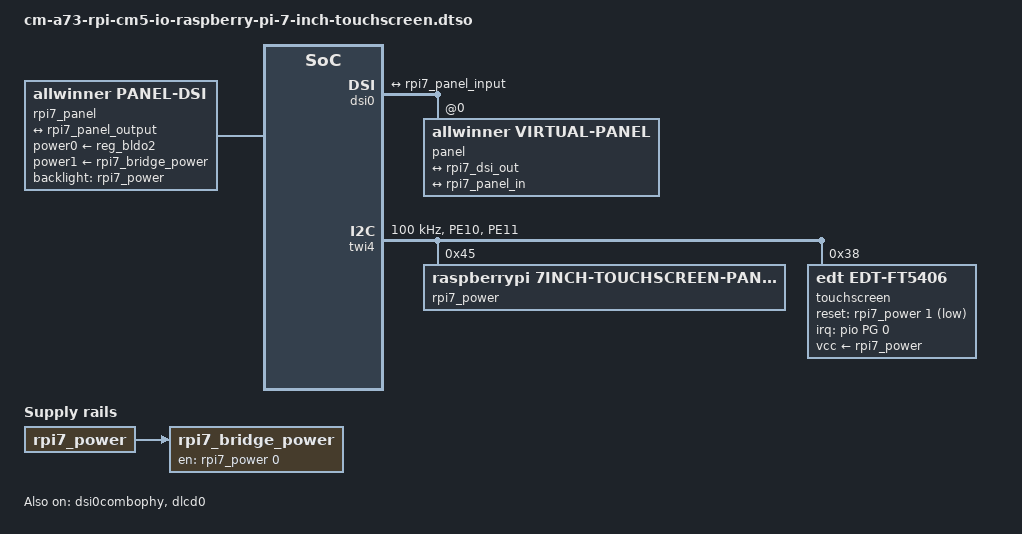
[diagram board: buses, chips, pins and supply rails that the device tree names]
/dts-v1/;
/plugin/;

#include <dt-bindings/gpio/gpio.h>
#include <dt-bindings/gpio/sun4i-gpio.h>
#include <dt-bindings/display/sunxi-lcd.h>
#include <dt-bindings/interrupt-controller/irq.h>

/*
 * These flags are missing from the sunxi-lcd.h DT bindings.
 * Match drm_mipi_dsi.h, whose C declarations cannot be included in DTS.
 */
#define MIPI_DSI_MODE_VIDEO_SYNC_PULSE (1 << 2)
#define MIPI_DSI_MODE_VIDEO_HSE (1 << 4)
#define MIPI_DSI_MODE_LPM (1 << 11)

/ {
	metadata {
		title = "Enable Raspberry Pi 7-inch Display";
		compatible = "radxa,cm-a73-rpi-cm5-io";
		category = "display";
		exclusive = "dlcd0", "dsi0", "dsi0combophy", "twi4", "PG0",
			    "PD0", "PD1", "PD2", "PD3", "PD4", "PD5", "PD6", "PD7", "PD8", "PD9",
			    "PE10", "PE11";
		description = "Enable Raspberry Pi 7-inch Display.
Connect J16 (CAM/DISP1, A733 DSI0) using a 22-to-15-pin display cable.
Fit J6 jumpers 1-2 and 3-4 for TWI4 and supply the display with 5V/GND
Connect touch INT to J8 physical pin 7 (PG0); use 3.3V GPIO_VREF.";
	};
};

&{/} {
	/* Power the ATTINY-controlled supply before releasing the bridge reset. */
	rpi7_bridge_power: regulator-rpi7-bridge {
		compatible = "regulator-fixed";
		regulator-name = "rpi7-bridge";
		vin-supply = <&rpi7_power>;
		gpio = <&rpi7_power 0 GPIO_ACTIVE_HIGH>;
		enable-active-high;
	};

	rpi7_panel: panel-rpi7 {
		compatible = "allwinner,panel-dsi";
		status = "okay";
		/* Keep the SoM display rail on independently of the PE-bank I2C bus. */
		power-num = <2>;
		power0-supply = <&reg_bldo2>;
		power1-supply = <&rpi7_bridge_power>;
		power-delay-ms = <100>;
		gpio-num = <0>;
		backlight = <&rpi7_power>;
		width-mm = <154>;
		height-mm = <86>;
		dsi,flags = <(MIPI_DSI_MODE_VIDEO | MIPI_DSI_MODE_VIDEO_SYNC_PULSE |
			      MIPI_DSI_MODE_VIDEO_HSE | MIPI_DSI_MODE_LPM)>;
		dsi,lanes = <1>;
		dsi,format = <0>;

		/* TC358762 generic writes: little-endian 16-bit address, 32-bit value. */
		panel-init-sequence = [
			29 00 06 10 02 03 00 00 00 /* DSI_LANEENABLE: clock and lane 0 */
			29 00 06 64 01 05 00 00 00 /* PPI_D0S_CLRSIPOCOUNT */
			29 00 06 68 01 05 00 00 00 /* PPI_D1S_CLRSIPOCOUNT */
			29 00 06 44 01 00 00 00 00 /* PPI_D0S_ATMR */
			29 00 06 48 01 00 00 00 00 /* PPI_D1S_ATMR */
			29 00 06 14 01 03 00 00 00 /* PPI_LPTXTIMECNT */
			29 00 06 50 04 00 00 00 00 /* SPICMR */
			29 00 06 20 04 50 01 1A 00 /* LCDCTRL: match the working TC358762 driver */
			29 64 06 64 04 0F 04 00 00 /* SYSCTRL */
			29 00 06 04 01 01 00 00 00 /* PPI_STARTPPI */
			29 64 06 04 02 01 00 00 00 /* DSI_STARTDSI */
		];

		display-timings {
			native-mode = <&rpi7_timing>;

			rpi7_timing: timing0 {
				clock-frequency = <30000000>;
				hactive = <800>;
				vactive = <480>;
				/* Keep 978 x 511 total; non-Burst HSA needs 10 packet overhead bytes. */
				hsync-len = <4>;
				hback-porch = <43>;
				hfront-porch = <131>;
				vsync-len = <2>;
				vback-porch = <22>;
				vfront-porch = <7>;
				hsync-active = <0>;
				vsync-active = <0>;
				de-active = <0>;
				pixelclk-active = <0>;
			};
		};

		port {
			rpi7_panel_in: endpoint {
				remote-endpoint = <&rpi7_panel_output>;
			};
		};
	};
};

&dsi0combophy {
	status = "okay";
};

&dlcd0 {
	status = "okay";
};

&dsi0 {
	status = "okay";
	#address-cells = <1>;
	#size-cells = <0>;
	pinctrl-0 = <&dsi0_4lane_pins_a>;
	pinctrl-1 = <&dsi0_4lane_pins_b>;
	pinctrl-names = "active", "sleep";

	ports {
		#address-cells = <1>;
		#size-cells = <0>;

		port@1 {
			reg = <1>;
			rpi7_dsi_out: endpoint {
				remote-endpoint = <&rpi7_panel_input>;
			};
		};
	};

	panel@0 {
		compatible = "allwinner,virtual-panel";
		status = "okay";
		reg = <0>;

		ports {
			#address-cells = <1>;
			#size-cells = <0>;

			port@0 {
				reg = <0>;
				#address-cells = <1>;
				#size-cells = <0>;

				rpi7_panel_input: endpoint@0 {
					reg = <0>;
					remote-endpoint = <&rpi7_dsi_out>;
				};
			};

			port@1 {
				reg = <1>;
				rpi7_panel_output: endpoint {
					remote-endpoint = <&rpi7_panel_in>;
				};
			};
		};
	};
};

&twi4 {
	#address-cells = <1>;
	#size-cells = <0>;
	clock-frequency = <100000>;
	pinctrl-0 = <&rpi7_twi4_pins_default>;
	pinctrl-1 = <&rpi7_twi4_pins_sleep>;
	pinctrl-names = "default", "sleep";
	/* Use engine mode for the ATTINY controller's separate I2C transactions. */
	twi_drv_used = <0>;
	no_suspend = <1>;
	/* VCC-PE follows the board\'s 3.3V GPIO_VREF supply. */
	twi-supply = <&reg_dc1sw2>;
	status = "okay";

	rpi7_power: regulator@45 {
		compatible = "raspberrypi,7inch-touchscreen-panel-regulator";
		reg = <0x45>;
		gpio-controller;
		#gpio-cells = <2>;
	};

	/* J8 pin 7 (GPIO4 on CM5 IO) is A733 PG0. */
	touchscreen@38 {
		compatible = "edt,edt-ft5406";
		reg = <0x38>;
		pinctrl-names = "default";
		pinctrl-0 = <&rpi7_touch_irq>;
		interrupt-parent = <&pio>;
		interrupts = <PG 0 IRQ_TYPE_EDGE_FALLING>;
		vcc-supply = <&rpi7_power>;
		reset-gpios = <&rpi7_power 1 GPIO_ACTIVE_LOW>;
		touchscreen-size-x = <800>;
		touchscreen-size-y = <480>;
		touchscreen-inverted-x;
		touchscreen-inverted-y;
		status = "okay";
	};
};

&pio {
	rpi7_touch_irq: rpi7-touch-irq {
		pins = "PG0";
		function = "irq";
		bias-pull-up;
	};

	rpi7_twi4_pins_default: rpi7-twi4-active {
		pins = "PE10", "PE11";
		function = "twi4";
		drive-strength = <10>;
		bias-pull-up;
	};

	rpi7_twi4_pins_sleep: rpi7-twi4-sleep {
		pins = "PE10", "PE11";
		function = "gpio_in";
	};
};
